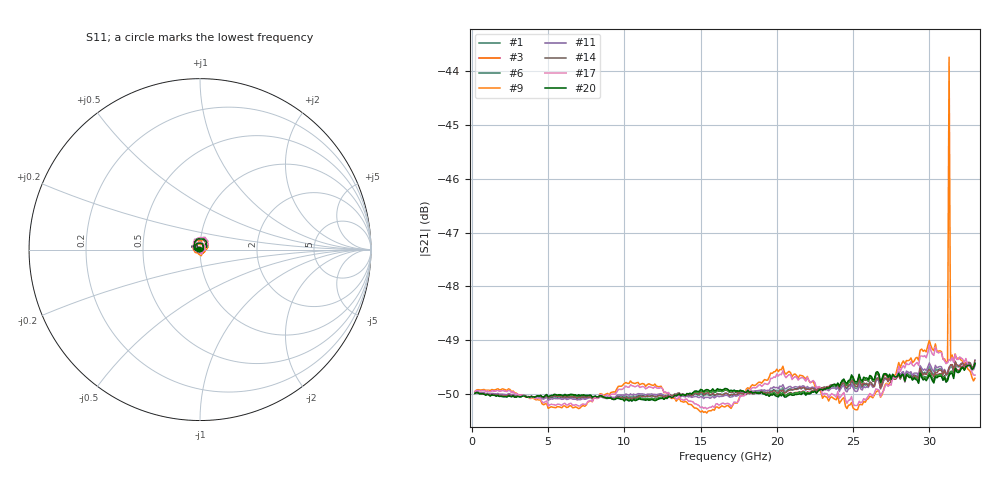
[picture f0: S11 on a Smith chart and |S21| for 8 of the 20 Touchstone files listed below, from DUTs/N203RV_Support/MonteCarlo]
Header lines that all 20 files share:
# GHZ S RI R 50
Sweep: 200 MHz to 33 GHz
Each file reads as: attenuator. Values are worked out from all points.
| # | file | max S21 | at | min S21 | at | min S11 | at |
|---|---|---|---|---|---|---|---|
| 1 | N203RV_68.s2p | -49.41 dB | 31.7 GHz | -50.1 dB | 5 GHz | -46.4 dB | 12.3 GHz |
| 2 | N203RV_69.s2p | -43.33 dB | 31.3 GHz | -50.4 dB | 15.4 GHz | -53.1 dB | 13.5 GHz |
| 3 | N203RV_71.s2p | -49.43 dB | 33 GHz | -50.1 dB | 10 GHz | -50.7 dB | 12.6 GHz |
| 4 | N203RV_72.s2p | -49.41 dB | 33 GHz | -50.1 dB | 10.5 GHz | -50.1 dB | 12.7 GHz |
| 5 | N203RV_73.s2p | -49.38 dB | 33 GHz | -50.1 dB | 10.5 GHz | -50.2 dB | 11.9 GHz |
| 6 | N203RV_74.s2p | -49.43 dB | 33 GHz | -50.1 dB | 10.5 GHz | -46.9 dB | 24 GHz |
| 7 | N203RV_75.s2p | -49.07 dB | 30 GHz | -50.3 dB | 15.4 GHz | -57.8 dB | 13.5 GHz |
| 8 | N203RV_77.s2p | -49.35 dB | 33 GHz | -50.1 dB | 10.5 GHz | -53.6 dB | 24.1 GHz |
| 9 | N203RV_78.s2p | -43.75 dB | 31.3 GHz | -50.3 dB | 15.4 GHz | -58.7 dB | 12.5 GHz |
| 10 | N203RV_81.s2p | -49.39 dB | 30 GHz | -50.1 dB | 5 GHz | -52.9 dB | 12.5 GHz |
| 11 | N203RV_82.s2p | -49.39 dB | 31.7 GHz | -50.1 dB | 5 GHz | -46.8 dB | 12.1 GHz |
| 12 | N203RV_83.s2p | -49.44 dB | 31.7 GHz | -50.1 dB | 5 GHz | -48.5 dB | 12 GHz |
| 13 | N203RV_87.s2p | -49.42 dB | 31.7 GHz | -50.1 dB | 5 GHz | -50.0 dB | 12.2 GHz |
| 14 | N203RV_90.s2p | -49.37 dB | 33 GHz | -50.1 dB | 9.3 GHz | -53.6 dB | 24.1 GHz |
| 15 | N203RV_91.s2p | -49.38 dB | 31.7 GHz | -50.1 dB | 5 GHz | -53.7 dB | 12 GHz |
| 16 | N203RV_93.s2p | -49.40 dB | 33 GHz | -50.1 dB | 10.5 GHz | -57.6 dB | 24.1 GHz |
| 17 | N203RV_95.s2p | -49.09 dB | 30 GHz | -50.3 dB | 15.4 GHz | -57.2 dB | 13.5 GHz |
| 18 | N203RV_96.s2p | -49.39 dB | 31.7 GHz | -50.1 dB | 5 GHz | -51.7 dB | 12.5 GHz |
| 19 | N203RV_98.s2p | -49.46 dB | 33 GHz | -50.1 dB | 10.3 GHz | -51.8 dB | 12.6 GHz |
| 20 | N203RV_100.s2p | -49.42 dB | 33 GHz | -50.1 dB | 10.5 GHz | -46.7 dB | 12.9 GHz |
